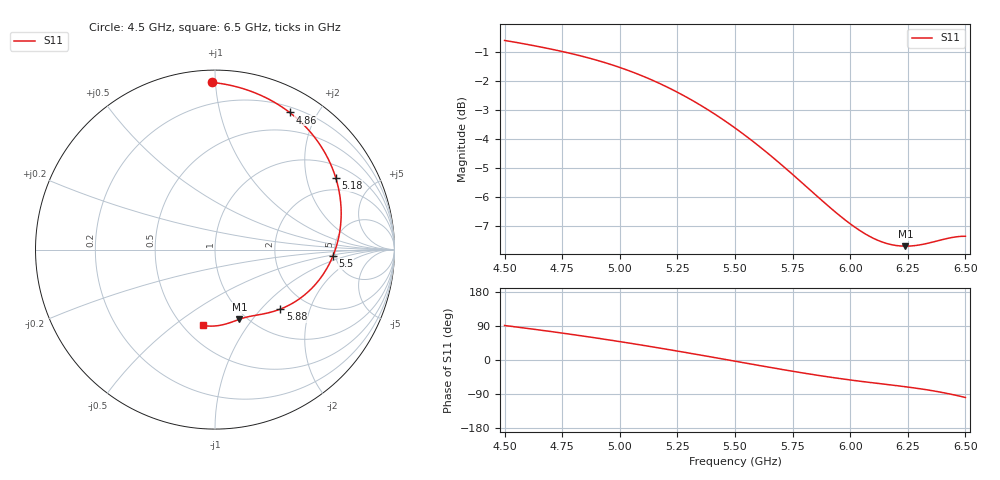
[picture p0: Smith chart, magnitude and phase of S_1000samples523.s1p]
! TOUCHSTONE file generated by CST MICROWAVE STUDIO
! Date and time: Fri Oct 28 11:15:16 2022
! Project name: L.cst
! Parameters = {Di=1.27; Epsilon_r=1.56; InnerDiameter=1.27; Length=2; Lf=10; Lg=60; OuterConductorThickness=0.2921; OuterDiameter=3.6; Wf=3; Wp=41.2; de=1.5; df=6.8; g=0.8; gx=1.5925; gy=4.26411; h=2.34; hf=1.524; px=11.1211; py=10.8761; w=9.7; wx=9.5286; wy=6.61198}
! Header version: 2018
! Port assignment regex: !\s*Touchstone port\s*([0-9]+)\s*=\s*(CST MWS port|CST DS port)\s*([0-9]+|Zmin|Zmax)\s*\(\"(.*)\"\)(\s*mode\s*([0-9]+))?.*
! Touchstone port assignment:
! Touchstone port 1 = CST MWS port 1 ("")
# GHz S DB R 50
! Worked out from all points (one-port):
!   101 points, 4.5 GHz to 6.5 GHz, reference 50 ohm
!   lowest |S11| = -7.7 dB at 6.24 GHz (marker M1), VSWR 2.40, Z = 46.3 - j43.3 ohm
!   |S11| at or under -10 dB: nowhere
!   S11 on the Smith chart (normalised r, x): 4.5 GHz: 0.07, +0.98; 4.86 GHz: 0.26, +1.65; 5.18 GHz: 1.45, +2.99; 5.5 GHz: 4.77, -0.60; 5.88 GHz: 1.47, -1.29; 6.5 GHz: 0.62, -0.64
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4.5  -0.62 91.0
4.58  -0.73 84.8
4.64  -0.82 80.1
4.7  -0.91 75.2
4.76  -1.02 70.2
4.86  -1.21 61.5
4.92  -1.34 56.0
5  -1.55 48.5
5.1  -1.85 38.8
5.18  -2.13 30.8
5.26  -2.44 22.5
5.32  -2.71 16.2
5.38  -2.99 9.8
5.44  -3.30 3.4
5.5  -3.63 -3.1
5.58  -4.11 -11.7
5.64  -4.49 -18.2
5.7  -4.89 -24.5
5.76  -5.31 -30.7
5.82  -5.73 -36.6
5.88  -6.15 -42.3
6  -6.94 -52.6
6.12  -7.51 -61.8
6.24  -7.71 -70.6
6.26  -7.71 -72.2
6.38  -7.53 -83.5
6.44  -7.42 -90.6
6.5  -7.37 -98.9
